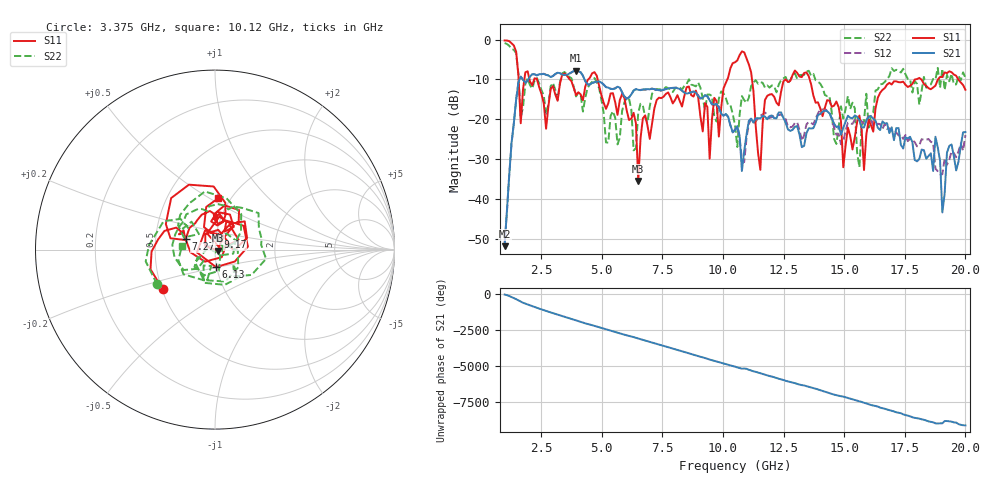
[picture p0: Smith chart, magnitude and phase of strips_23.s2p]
!Agilent Technologies,N5230A,MY45001629,A.07.50.67
!Agilent N5230A: A.07.50.67
!Date: Monday, June 05, 2017 16:34:55
!Correction: S11(Full 2 Port(1,2))
!S21(Full 2 Port(1,2))
!S12(Full 2 Port(1,2))
!S22(Full 2 Port(1,2))
!S2P File: Measurements: S11, S21, S12, S22:
# Hz S  dB  R 50
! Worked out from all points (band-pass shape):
!   201 points, 1 GHz to 20 GHz, reference 50 ohm
!   highest |S21| = -7.81 dB at 3.945 GHz (marker M1); lowest = -51.9 dB at 1 GHz (marker M2)
!   |S21| within 3 dB of the highest: 1.866 GHz to 4.367 GHz (2.501 GHz wide, 80.3 % of centre); 4.657 GHz to 4.991 GHz (333.8 MHz wide, 6.92 % of centre)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
!   lowest |S11| = -35.5 dB at 6.51 GHz (marker M3), VSWR 1.03, Z = 51.6 - j0.608 ohm
!   |S11| at or under -10 dB: 4.837 GHz to 10.19 GHz (5.348 GHz wide, 71.2 % of centre); 11.2 GHz to 12.59 GHz (1.388 GHz wide, 11.7 % of centre); 13.58 GHz to 17.93 GHz (4.355 GHz wide, 27.6 % of centre)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
!   |S22| runs from -32.1 to -0.9 dB; largest |S21 - S12| = 0.038
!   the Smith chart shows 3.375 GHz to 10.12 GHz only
!   S11 on the Smith chart (normalised r, x): 3.375 GHz: 0.51, -0.26; 6.13 GHz: 0.99, -0.20; 7.27 GHz: 0.71, +0.09; 9.17 GHz: 1.02, +0.14; 10.12 GHz: 0.88, +0.54
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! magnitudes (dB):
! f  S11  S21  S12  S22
! 1 GHz  -0.2  -51.9  -51.1  -0.9
! 1.57 GHz  -9.0  -10.7  -10.7  -8.7
! 3.375 GHz  -8.7  -8.8  -8.8  -8.5
! 3.945 GHz  -13.9  -7.8  -7.8  -14.3
! 4.23 GHz  -15.2  -9.1  -9.1  -18.1
! 6.13 GHz  -20.2  -14.5  -14.5  -14.9
! 6.51 GHz  -35.5  -12.6  -12.6  -18.4
! 7.27 GHz  -15.2  -12.6  -12.6  -12.4
! 7.365 GHz  -14.6  -12.7  -12.8  -12.5
! 9.17 GHz  -23.1  -14.6  -14.7  -14.7
! 10.12 GHz  -10.9  -18.7  -18.8  -14.7
! 10.5 GHz  -5.7  -22.8  -22.6  -21.5
! 11.54 GHz  -32.7  -19.8  -19.1  -10.7
! 11.83 GHz  -14.1  -20.0  -18.8  -11.5
! 13.73 GHz  -14.0  -22.3  -21.3  -8.6
! 14.96 GHz  -32.1  -22.1  -25.6  -19.8
! 15.63 GHz  -19.1  -20.3  -20.1  -32.1
! 15.82 GHz  -32.8  -22.1  -21.1  -20.5
! 16.86 GHz  -10.9  -23.5  -22.3  -9.2
! 18.77 GHz  -11.6  -24.4  -32.4  -10.1
! 19.05 GHz  -9.4  -43.4  -33.8  -7.3
! 20 GHz  -12.6  -23.2  -24.0  -9.6
